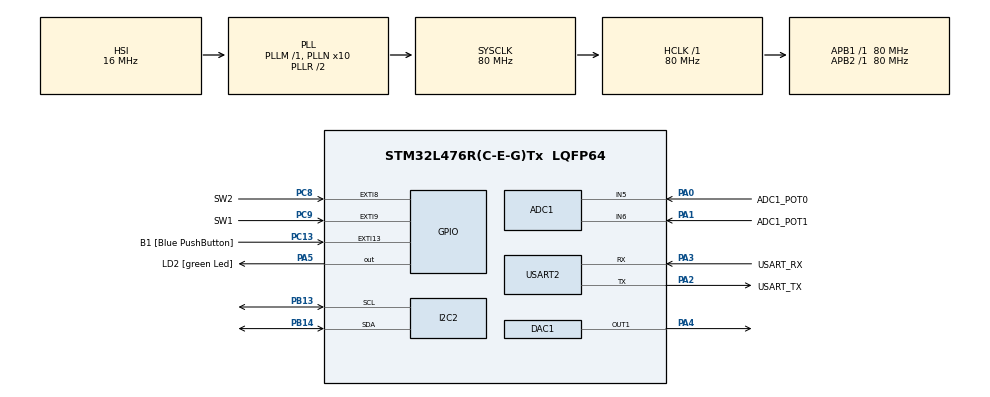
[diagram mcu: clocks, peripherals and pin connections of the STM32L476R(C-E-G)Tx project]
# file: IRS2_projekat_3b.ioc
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ADC1.Channel-3\#ChannelRegularConversion=ADC_CHANNEL_5
ADC1.EOCSelection=ADC_EOC_SEQ_CONV
ADC1.ExternalTrigConv=ADC_EXTERNALTRIG_T1_TRGO
ADC1.ExternalTrigConvEdge=ADC_EXTERNALTRIGCONVEDGE_RISING
ADC1.NbrOfConversion=1
ADC1.NbrOfConversionFlag=1
ADC1.OffsetNumber-3\#ChannelRegularConversion=ADC_OFFSET_NONE
ADC1.Rank-3\#ChannelRegularConversion=1
ADC1.SamplingTime-3\#ChannelRegularConversion=ADC_SAMPLETIME_2CYCLES_5
ADC1.master=1
DAC1.DAC_Trigger-DAC_OUT1_ExtAndInt=DAC_TRIGGER_T6_TRGO
Dma.DAC_CH1.0.Direction=DMA_MEMORY_TO_PERIPH
Dma.DAC_CH1.0.Instance=DMA1_Channel3
Dma.DAC_CH1.0.MemDataAlignment=DMA_MDATAALIGN_WORD
Dma.DAC_CH1.0.MemInc=DMA_MINC_ENABLE
Dma.DAC_CH1.0.Mode=DMA_CIRCULAR
Dma.DAC_CH1.0.PeriphDataAlignment=DMA_PDATAALIGN_WORD
Dma.DAC_CH1.0.PeriphInc=DMA_PINC_DISABLE
Dma.DAC_CH1.0.Priority=DMA_PRIORITY_MEDIUM
Dma.Request0=DAC_CH1
I2C2.Timing=0x10909CEC
Mcu.Family=STM32L4
Mcu.Name=STM32L476R(C-E-G)Tx
Mcu.Package=LQFP64
Mcu.UserConstants=OLED_I2C,$$_I2C2_IP_HANDLE_$$
NVIC.ADC1_2_IRQn=true\:0\:0\:false\:false\:true\:true\:true\:true
NVIC.DMA1_Channel3_IRQn=true\:0\:0\:false\:false\:true\:false\:true\:true
NVIC.EXTI9_5_IRQn=true\:0\:0\:false\:false\:true\:true\:true\:true
NVIC.PriorityGroup=NVIC_PRIORITYGROUP_4
NVIC.TIM1_CC_IRQn=true\:0\:0\:false\:false\:true\:true\:true\:true
NVIC.TIM1_TRG_COM_TIM17_IRQn=true\:0\:0\:false\:false\:true\:true\:true\:true
PA0.GPIO_Label=ADC1_POT0
PA0.Signal=ADCx_IN5
PA1.GPIO_Label=ADC1_POT1
PA1.Signal=ADCx_IN6
PA13\ (JTMS-SWDIO).GPIO_Label=TMS
PA13\ (JTMS-SWDIO).Mode=Serial_Wire
PA13\ (JTMS-SWDIO).Signal=SYS_JTMS-SWDIO
PA14\ (JTCK-SWCLK).GPIO_Label=TCK
PA14\ (JTCK-SWCLK).Mode=Serial_Wire
PA14\ (JTCK-SWCLK).Signal=SYS_JTCK-SWCLK
PA2.GPIO_Label=USART_TX
PA2.GPIO_Mode=GPIO_MODE_AF_PP
PA2.GPIO_PuPd=GPIO_NOPULL
PA2.GPIO_Speed=GPIO_SPEED_FREQ_VERY_HIGH
PA2.Mode=Asynchronous
PA2.Signal=USART2_TX
PA3.GPIO_Label=USART_RX
PA3.GPIO_Mode=GPIO_MODE_AF_PP
PA3.GPIO_PuPd=GPIO_NOPULL
PA3.GPIO_Speed=GPIO_SPEED_FREQ_VERY_HIGH
PA3.Mode=Asynchronous
PA3.Signal=USART2_RX
PA4.Signal=COMP_DAC11_group
PA5.GPIO_Label=LD2 [green Led]
PA5.GPIO_ModeDefaultOutputPP=GPIO_MODE_OUTPUT_PP
PA5.GPIO_PuPd=GPIO_NOPULL
PA5.GPIO_Speed=GPIO_SPEED_FREQ_LOW
PA5.Signal=GPIO_Output
PB13.Mode=I2C
PB13.Signal=I2C2_SCL
PB14.Mode=I2C
PB14.Signal=I2C2_SDA
PB3\ (JTDO-TRACESWO).GPIO_Label=SWO
PB3\ (JTDO-TRACESWO).Signal=SYS_JTDO-SWO
PC13.GPIO_Label=B1 [Blue PushButton]
PC13.GPIO_ModeDefaultEXTI=GPIO_MODE_IT_FALLING
PC13.GPIO_PuPd=GPIO_NOPULL
PC13.Signal=GPXTI13
PC14-OSC32_IN\ (PC14).Mode=LSE-External-Oscillator
PC14-OSC32_IN\ (PC14).Signal=RCC_OSC32_IN
PC15-OSC32_OUT\ (PC15).Mode=LSE-External-Oscillator
PC15-OSC32_OUT\ (PC15).Signal=RCC_OSC32_OUT
PC8.GPIO_Label=SW2
PC8.Signal=GPXTI8
PC9.GPIO_Label=SW1
PC9.Signal=GPXTI9
PH0-OSC_IN\ (PH0).Signal=RCC_OSC_IN
PH1-OSC_OUT\ (PH1).Signal=RCC_OSC_OUT
ProjectManager.HeapSize=0x200
ProjectManager.StackSize=0x400
ProjectManager.TargetToolchain=STM32CubeIDE
RCC.ADCFreq_Value=64000000
RCC.AHBFreq_Value=80000000
RCC.APB1Freq_Value=80000000
RCC.APB1TimFreq_Value=80000000
RCC.APB2Freq_Value=80000000
RCC.APB2TimFreq_Value=80000000
RCC.CortexFreq_Value=80000000
RCC.HCLKFreq_Value=80000000
RCC.HSE_VALUE=8000000
RCC.HSI_VALUE=16000000
RCC.MSI_VALUE=4000000
RCC.PLLN=10
RCC.PLLSourceVirtual=RCC_PLLSOURCE_HSI
RCC.PREFETCH_ENABLE=1
RCC.SYSCLKFreq_VALUE=80000000
RCC.SYSCLKSource=RCC_SYSCLKSOURCE_PLLCLK
RCC.USBFreq_Value=64000000
RCC.VCOOutputFreq_Value=160000000
SH.ADCx_IN5.0=ADC1_IN5,IN5-Single-Ended
SH.ADCx_IN6.0=ADC1_IN6,IN6-Single-Ended
SH.COMP_DAC11_group.0=DAC1_OUT1,DAC_OUT1_ExtAndInt
TIM1.AutoReloadPreload=TIM_AUTORELOAD_PRELOAD_ENABLE
TIM1.Channel-Output\ Compare2\ No\ Output=TIM_CHANNEL_2
TIM1.Channel-PWM\ Generation1\ No\ Output=TIM_CHANNEL_1
TIM1.ClockDivision=TIM_CLOCKDIVISION_DIV4
TIM1.OC2Preload=ENABLE
TIM1.Period=100
TIM1.Prescaler=20000
TIM1.Pulse-Output\ Compare2\ No\ Output=5
TIM1.TIM_MasterOutputTrigger=TIM_TRGO_UPDATE
TIM1.TIM_MasterOutputTrigger2=TIM_TRGO2_UPDATE
TIM1.TIM_MasterSlaveMode=TIM_MASTERSLAVEMODE_ENABLE
TIM17.AutoReloadPreload=TIM_AUTORELOAD_PRELOAD_ENABLE
TIM17.Period=900
TIM17.Prescaler=8000
TIM6.AutoReloadPreload=TIM_AUTORELOAD_PRELOAD_ENABLE
TIM6.Period=8000
TIM6.Prescaler=9
TIM6.TIM_MasterOutputTrigger=TIM_TRGO_UPDATE
USART2.VirtualMode-Asynchronous=VM_ASYNC
VP_TIM17_VS_ClockSourceINT.Mode=Enable_Timer
VP_TIM17_VS_OPM.Mode=OPM_bit
VP_TIM1_VS_ClockSourceINT.Mode=Internal
VP_TIM1_VS_no_output1.Mode=PWM Generation1 No Output
VP_TIM1_VS_no_output2.Mode=Output Compare2 No Output
VP_TIM6_VS_ClockSourceINT.Mode=Enable_Timer
board=NUCLEO-L476RG

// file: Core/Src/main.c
/* USER CODE BEGIN Header */
/**
  ******************************************************************************
  * @file           : main.c
  * @brief          : Main program body
  ******************************************************************************
  * @attention
  *
  * Copyright (c) 2023 STMicroelectronics.
  * All rights reserved.
  *
  * This software is licensed under terms that can be found in the LICENSE file
  * in the root directory of this software component.
  * If no LICENSE file comes with this software, it is provided AS-IS.
  *
  ******************************************************************************
  */
/* USER CODE END Header */
#include "main.h"
#include "adc.h"
#include "dac.h"
#include "dma.h"
#include "i2c.h"
#include "tim.h"
#include "usart.h"
#include "gpio.h"

/* USER CODE BEGIN Includes */
#include "ssd1306.h"
#include "lookup_table.h"
#include "graphics.h"
/* USER CODE END Includes */

/* USER CODE BEGIN PTD */
struct generator_params g_Generator_parameters;

/* USER CODE END PTD */

/* USER CODE BEGIN PV */
const uint16_t FREQ_TO_COUNT_RATIO = 8000;
/* USER CODE END PV */

void SystemClock_Config(void);

int main(void)
{

  /* MCU Configuration--------------------------------------------------------*/

  /* Reset of all peripherals, Initializes the Flash interface and the Systick. */
  HAL_Init();

  /* Configure the system clock */
  SystemClock_Config();

  /* Initialize all configured peripherals */
  MX_GPIO_Init();
  MX_DMA_Init();
  MX_USART2_UART_Init();
  MX_DAC1_Init();
  MX_I2C2_Init();
  MX_ADC1_Init();
  MX_TIM17_Init();
  MX_TIM6_Init();
  MX_TIM1_Init();
  /* USER CODE BEGIN 2 */
  Init_Generator();
  HAL_ADCEx_Calibration_Start(&hadc1, ADC_SINGLE_ENDED);
  HAL_ADC_Start_IT(&hadc1);
  HAL_TIM_PWM_Start(&htim1, TIM_CHANNEL_1);
  HAL_TIM_OC_Start_IT(&htim1, TIM_CHANNEL_2);
  Init_Graphics();
  /* USER CODE END 2 */

  /* Infinite loop */
  /* USER CODE BEGIN WHILE */
  while (1)
  {
	  Update_Graphics();
    /* USER CODE END WHILE */

  }
}

void SystemClock_Config(void)
{
  RCC_OscInitTypeDef RCC_OscInitStruct = {0};
  RCC_ClkInitTypeDef RCC_ClkInitStruct = {0};

  /** Configure the main internal regulator output voltage
  */
  if (HAL_PWREx_ControlVoltageScaling(PWR_REGULATOR_VOLTAGE_SCALE1) != HAL_OK)
  {
    Error_Handler();
  }

  /** Initializes the RCC Oscillators according to the specified parameters
  * in the RCC_OscInitTypeDef structure.
  */
  RCC_OscInitStruct.OscillatorType = RCC_OSCILLATORTYPE_HSI;
  RCC_OscInitStruct.HSIState = RCC_HSI_ON;
  RCC_OscInitStruct.HSICalibrationValue = RCC_HSICALIBRATION_DEFAULT;
  RCC_OscInitStruct.PLL.PLLState = RCC_PLL_ON;
  RCC_OscInitStruct.PLL.PLLSource = RCC_PLLSOURCE_HSI;
  RCC_OscInitStruct.PLL.PLLM = 1;
  RCC_OscInitStruct.PLL.PLLN = 10;
  RCC_OscInitStruct.PLL.PLLP = RCC_PLLP_DIV7;
  RCC_OscInitStruct.PLL.PLLQ = RCC_PLLQ_DIV2;
  RCC_OscInitStruct.PLL.PLLR = RCC_PLLR_DIV2;
  if (HAL_RCC_OscConfig(&RCC_OscInitStruct) != HAL_OK)
  {
    Error_Handler();
  }

  /** Initializes the CPU, AHB and APB buses clocks
  */
  RCC_ClkInitStruct.ClockType = RCC_CLOCKTYPE_HCLK|RCC_CLOCKTYPE_SYSCLK
                              |RCC_CLOCKTYPE_PCLK1|RCC_CLOCKTYPE_PCLK2;
  RCC_ClkInitStruct.SYSCLKSource = RCC_SYSCLKSOURCE_PLLCLK;
  RCC_ClkInitStruct.AHBCLKDivider = RCC_SYSCLK_DIV1;
  RCC_ClkInitStruct.APB1CLKDivider = RCC_HCLK_DIV1;
  RCC_ClkInitStruct.APB2CLKDivider = RCC_HCLK_DIV1;

  if (HAL_RCC_ClockConfig(&RCC_ClkInitStruct, FLASH_LATENCY_4) != HAL_OK)
  {
    Error_Handler();
  }
}

/* USER CODE BEGIN 4 */
void Init_Generator()
{
	Set_Generator_Mode(SIN);
	g_Generator_parameters.amplitude = 0xFFF;
	Set_Generator_Frequency(1);
	//TODO: Call all other functions

}

void Set_Generator_Frequency(uint16_t frequency)
{
	g_Generator_parameters.frequency = frequency;
	uint16_t new_counter_period = FREQ_TO_COUNT_RATIO/frequency;
	__HAL_TIM_SET_AUTORELOAD(&htim6, new_counter_period);
}

void Set_Generator_Mode(enum generator_waveform waveform)
{
	HAL_TIM_Base_Stop(&htim6);
	HAL_DAC_Stop_DMA(&hdac1, DAC_CHANNEL_1);

	g_Generator_parameters.waveform = waveform;

	switch (waveform)
	{
	case SIN:
		HAL_DAC_Start_DMA(&hdac1, DAC_CHANNEL_1, (uint32_t*)sinewave, 1000, DAC_ALIGN_12B_R);
		break;
	case TRIANGE:
		HAL_DAC_Start_DMA(&hdac1, DAC_CHANNEL_1, (uint32_t*)triangle, 1000, DAC_ALIGN_12B_R);
		break;
	case SQUARE:
		HAL_DAC_Start_DMA(&hdac1, DAC_CHANNEL_1, (uint32_t*)square_table, 1000, DAC_ALIGN_12B_R);
	}

	HAL_TIM_Base_Start(&htim6);
}

void Generator_Next_Mode()
{
	enum generator_waveform new_waveform = g_Generator_parameters.waveform + 1;
	if (new_waveform > SQUARE)
			new_waveform = SIN;

	Set_Generator_Mode(new_waveform);
}

void Set_Previous_Mode()
{
	enum generator_waveform new_waveform = g_Generator_parameters.waveform;
	if (new_waveform != SIN)
	{
		new_waveform--;
	}
	else
	{
		new_waveform = SQUARE;
	}

	Set_Generator_Mode(new_waveform);
}
/* USER CODE END 4 */

void Error_Handler(void)
{
  __disable_irq();
  while (1)
  {
  }
}
